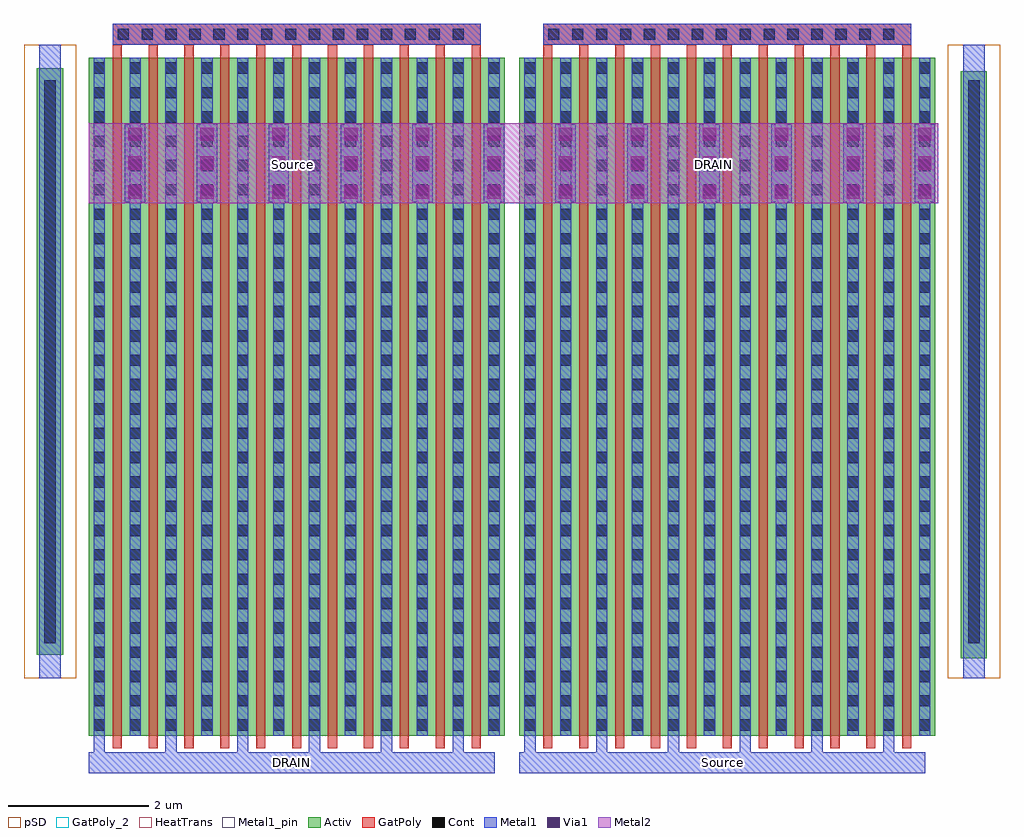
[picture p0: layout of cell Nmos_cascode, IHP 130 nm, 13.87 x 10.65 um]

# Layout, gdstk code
import gdstk
lib = gdstk.Library(unit=1e-6, precision=1e-09)
def R(c, l, rs):  # rectangles x0, y0, x1, y1
    for r in rs: c.add(gdstk.rectangle(r[:2], r[2:], *l))
def A(c, l, x, y, w, h, nx, ny, dx, dy):  # array of equal rectangles
    R(c, l, [(x+i*dx, y+j*dy, x+i*dx+w, y+j*dy+h) for i in range(nx) for j in range(ny)])
Activ = (1, 0)
GatPoly = (5, 0)
GatPoly_2 = (5, 2)
Cont = (6, 0)
Metal1 = (8, 0)
Metal1_pin = (8, 2)
Metal2 = (10, 0)
pSD = (14, 0)
Via1 = (19, 0)
HeatTrans = (51, 0)

nmos_1 = lib.new_cell('nmos$1')
A(nmos_1, Activ, 0, 0, 0.3, 0.3, 12, 1, 0.51, 0)
R(nmos_1, Activ, [(0,0,5.91,9.635)])
A(nmos_1, GatPoly, 0.34, -0.18, 0.13, 9.995, 11, 1, 0.51, 0)
R(nmos_1, GatPoly_2, [(0.34,-0.18,0.47,9.815)])
A(nmos_1, Cont, 0.07, 0.07, 0.16, 0.16, 12, 7, 0.51, 0.345)
A(nmos_1, Cont, 0.07, 2.49, 0.16, 0.16, 12, 7, 0.51, 0.345)
A(nmos_1, Cont, 0.07, 4.91, 0.16, 0.16, 12, 7, 0.51, 0.345)
A(nmos_1, Cont, 0.07, 7.33, 0.16, 0.16, 12, 6, 0.51, 0.345)
A(nmos_1, Cont, 0.07, 9.405, 0.16, 0.16, 12, 1, 0.51, 0)
A(nmos_1, Metal1, 0.07, 0, 0.16, 9.635, 12, 1, 0.51, 0)
R(nmos_1, Metal1_pin, [(0.07,0,0.23,9.635), (0.58,0,0.74,9.635)])
A(nmos_1, HeatTrans, 0.34, -0.18, 0.13, 9.995, 11, 1, 0.51, 0)
nmos_1.add(gdstk.Label('nmos', (0.405,4.818), layer=63, texttype=0))
nmos_1.add(gdstk.Label('nmos', (0.405,4.818), layer=51, texttype=0))
nmos_1.add(gdstk.Label('nmos', (0.915,4.818), layer=51, texttype=0))
nmos_1.add(gdstk.Label('nmos', (1.425,4.818), layer=51, texttype=0))
nmos_1.add(gdstk.Label('nmos', (1.935,4.818), layer=51, texttype=0))
nmos_1.add(gdstk.Label('nmos', (2.445,4.818), layer=51, texttype=0))
nmos_1.add(gdstk.Label('nmos', (2.955,4.818), layer=51, texttype=0))
nmos_1.add(gdstk.Label('nmos', (3.465,4.818), layer=51, texttype=0))
nmos_1.add(gdstk.Label('nmos', (3.975,4.818), layer=51, texttype=0))
nmos_1.add(gdstk.Label('nmos', (4.485,4.818), layer=51, texttype=0))
nmos_1.add(gdstk.Label('nmos', (4.995,4.818), layer=51, texttype=0))
nmos_1.add(gdstk.Label('nmos', (5.505,4.818), layer=51, texttype=0))

via_stack_6 = lib.new_cell('via_stack$6')
R(via_stack_6, Metal1, [(-0.145,-0.555,0.145,0.555)])
R(via_stack_6, Metal2, [(-0.145,-0.555,0.145,0.555)])
A(via_stack_6, Via1, -0.095, -0.505, 0.19, 0.19, 1, 3, 0, 0.41)

nmos_cascode = lib.new_cell('Nmos_cascode')
R(nmos_cascode, Activ, [(6.375,-13.19,6.75,-4.85), (-6.755,-13.145,-6.38,-4.805)])
R(nmos_cascode, GatPoly, [(-5.675,-4.475,-0.445,-4.175), (0.445,-4.475,5.675,-4.175)])
A(nmos_cascode, Cont, -5.605, -4.405, 0.16, 0.16, 15, 1, 0.34, 0)
A(nmos_cascode, Cont, 0.515, -4.405, 0.16, 0.16, 15, 1, 0.34, 0)
R(nmos_cascode, Cont, [(-6.645,-12.975,-6.485,-4.975), (6.485,-12.975,6.645,-4.975)])
A(nmos_cascode, Metal1, -5.945, -14.525, 0.16, 0.235, 12, 1, 1.02, 0)
R(nmos_cascode, Metal1, [(-6.015,-14.825,-0.245,-14.525), (0.105,-14.825,5.875,-14.525), (-6.715,-13.475,-6.415,-4.475), (6.415,-13.475,6.715,-4.475), (-5.675,-4.475,-0.445,-4.175), (0.445,-4.475,5.675,-4.175)])
R(nmos_cascode, Metal2, [(-6.015,-6.725,6.055,-5.585)])
R(nmos_cascode, pSD, [(-6.935,-13.475,-6.195,-4.475), (6.195,-13.475,6.935,-4.475)])
nmos_cascode.add(gdstk.Reference(nmos_1, (0.105,-14.29)))
r = gdstk.Reference(via_stack_6, (-4.335,-6.155)); r.repetition = gdstk.Repetition(1, 1, v1=(0,0), v2=(0,0)); nmos_cascode.add(r)
r = gdstk.Reference(via_stack_6, (-5.36,-6.155)); r.repetition = gdstk.Repetition(1, 1, v1=(0,0), v2=(0,0)); nmos_cascode.add(r)
r = gdstk.Reference(via_stack_6, (-2.29,-6.155)); r.repetition = gdstk.Repetition(1, 1, v1=(0,0), v2=(0,0)); nmos_cascode.add(r)
r = gdstk.Reference(via_stack_6, (-3.315,-6.155)); r.repetition = gdstk.Repetition(1, 1, v1=(0,0), v2=(0,0)); nmos_cascode.add(r)
r = gdstk.Reference(via_stack_6, (-1.27,-6.155)); r.repetition = gdstk.Repetition(1, 1, v1=(0,0), v2=(0,0)); nmos_cascode.add(r)
r = gdstk.Reference(via_stack_6, (-0.255,-6.155)); r.repetition = gdstk.Repetition(1, 1, v1=(0,0), v2=(0,0)); nmos_cascode.add(r)
r = gdstk.Reference(via_stack_6, (1.785,-6.155)); r.repetition = gdstk.Repetition(1, 1, v1=(0,0), v2=(0,0)); nmos_cascode.add(r)
r = gdstk.Reference(via_stack_6, (0.76,-6.155)); r.repetition = gdstk.Repetition(1, 1, v1=(0,0), v2=(0,0)); nmos_cascode.add(r)
r = gdstk.Reference(via_stack_6, (3.83,-6.155)); r.repetition = gdstk.Repetition(1, 1, v1=(0,0), v2=(0,0)); nmos_cascode.add(r)
r = gdstk.Reference(via_stack_6, (2.805,-6.155)); r.repetition = gdstk.Repetition(1, 1, v1=(0,0), v2=(0,0)); nmos_cascode.add(r)
r = gdstk.Reference(via_stack_6, (4.85,-6.155)); r.repetition = gdstk.Repetition(1, 1, v1=(0,0), v2=(0,0)); nmos_cascode.add(r)
r = gdstk.Reference(via_stack_6, (5.865,-6.155)); r.repetition = gdstk.Repetition(1, 1, v1=(0,0), v2=(0,0)); nmos_cascode.add(r)
nmos_cascode.add(gdstk.Reference(nmos_1, (-6.015,-14.29)))
nmos_cascode.add(gdstk.Label('DRAIN', (-3.13,-14.675), layer=63, texttype=0))
nmos_cascode.add(gdstk.Label('Source', (2.99,-14.675), layer=63, texttype=0))
nmos_cascode.add(gdstk.Label('DRAIN', (2.87,-6.17), layer=63, texttype=0))
nmos_cascode.add(gdstk.Label('Source', (-3.12,-6.17), layer=63, texttype=0))

lib.write_gds('Nmos_cascode.gds')
